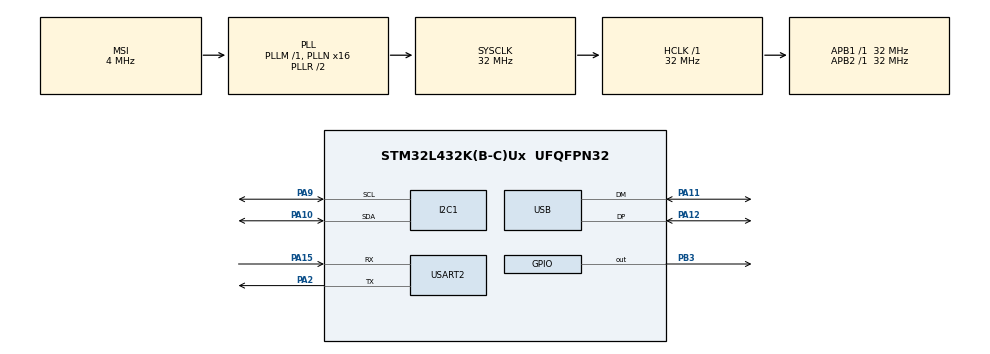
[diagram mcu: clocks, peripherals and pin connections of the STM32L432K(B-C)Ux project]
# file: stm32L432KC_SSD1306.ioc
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I2C1.Timing=0x00707CBB
Mcu.Family=STM32L4
Mcu.Name=STM32L432K(B-C)Ux
Mcu.Package=UFQFPN32
NVIC.PriorityGroup=NVIC_PRIORITYGROUP_4
NVIC.USB_IRQn=true\:0\:0\:false\:false\:true\:false\:true
PA0.Mode=HSE-External-Clock-Source-for-LittleOrca
PA0.Signal=RCC_CK_IN
PA10.Mode=I2C
PA10.Signal=I2C1_SDA
PA11.Mode=Device
PA11.Signal=USB_DM
PA12.Mode=Device
PA12.Signal=USB_DP
PA13\ (JTMS-SWDIO).Mode=Serial_Wire
PA13\ (JTMS-SWDIO).Signal=SYS_JTMS-SWDIO
PA14\ (JTCK-SWCLK).Mode=Serial_Wire
PA14\ (JTCK-SWCLK).Signal=SYS_JTCK-SWCLK
PA15\ (JTDI).GPIO_ModeDefaultPP=GPIO_MODE_AF_PP
PA15\ (JTDI).GPIO_PuPd=GPIO_NOPULL
PA15\ (JTDI).GPIO_Speed=GPIO_SPEED_FREQ_VERY_HIGH
PA15\ (JTDI).Mode=Asynchronous
PA15\ (JTDI).Signal=USART2_RX
PA2.GPIO_ModeDefaultPP=GPIO_MODE_AF_PP
PA2.GPIO_PuPd=GPIO_NOPULL
PA2.GPIO_Speed=GPIO_SPEED_FREQ_VERY_HIGH
PA2.Mode=Asynchronous
PA2.Signal=USART2_TX
PA9.Mode=I2C
PA9.Signal=I2C1_SCL
PB3\ (JTDO-TRACESWO).GPIO_ModeDefaultOutputPP=GPIO_MODE_OUTPUT_PP
PB3\ (JTDO-TRACESWO).GPIO_PuPd=GPIO_NOPULL
PB3\ (JTDO-TRACESWO).GPIO_Speed=GPIO_SPEED_FREQ_LOW
PB3\ (JTDO-TRACESWO).PinState=GPIO_PIN_RESET
PB3\ (JTDO-TRACESWO).Signal=GPIO_Output
PC14-OSC32_IN\ (PC14).Mode=LSE-External-Oscillator
PC14-OSC32_IN\ (PC14).Signal=RCC_OSC32_IN
PC15-OSC32_OUT\ (PC15).Mode=LSE-External-Oscillator
PC15-OSC32_OUT\ (PC15).Signal=RCC_OSC32_OUT
ProjectManager.HeapSize=0x100
ProjectManager.StackSize=0x400
ProjectManager.TargetToolchain=STM32CubeIDE
RCC.ADCFreq_Value=48000000
RCC.AHBFreq_Value=32000000
RCC.APB1Freq_Value=32000000
RCC.APB1TimFreq_Value=32000000
RCC.APB2Freq_Value=32000000
RCC.APB2TimFreq_Value=32000000
RCC.CortexFreq_Value=32000000
RCC.HCLKFreq_Value=32000000
RCC.HSE_VALUE=8000000
RCC.HSI16_VALUE=16000000
RCC.HSI48_VALUE=48000000
RCC.HSI_VALUE=16000000
RCC.MSI_VALUE=4000000
RCC.PLLMUL=RCC_PLLMUL_4
RCC.PLLN=16
RCC.PLLSAI1N=24
RCC.SYSCLKFreq_VALUE=32000000
RCC.SYSCLKSource=RCC_SYSCLKSOURCE_PLLCLK
RCC.USBFreq_Value=48000000
RCC.VCOOutputFreq_Value=64000000
USART2.VirtualMode-Asynchronous=VM_ASYNC
USB_DEVICE.CLASS_NAME_FS=CDC
USB_DEVICE.VirtualMode=Cdc
USB_DEVICE.VirtualModeFS=Cdc_FS
VP_USB_DEVICE_VS_USB_DEVICE_CDC_FS.Mode=CDC_FS
board=NUCLEO-L432KC

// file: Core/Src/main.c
/* USER CODE BEGIN Header */
/**
  ******************************************************************************
  * @file           : main.c
  * @brief          : Main program body
  ******************************************************************************
  * @attention
  *
  * <h2><center>&copy; Copyright (c) 2020 STMicroelectronics.
  * All rights reserved.</center></h2>
  *
  * This software component is licensed by ST under BSD 3-Clause license,
  * the "License"; You may not use this file except in compliance with the
  * License. You may obtain a copy of the License at:
  *                        opensource.org/licenses/BSD-3-Clause
  *
  ******************************************************************************
  */
/* USER CODE END Header */

#include "main.h"
#include "usb_device.h"

/* USER CODE BEGIN Includes */
#include <string.h>
#include <stdio.h>
#include "ssd1306.h"
#include "usbd_cdc_if.h"
/* USER CODE END Includes */

/* USER CODE BEGIN PD */
#define SSD1306_USE_I2C
#define __DEBUG 1
#define BUFFERSIZE 100
#define I2CBUF	12
#define debug_print(x) 	do { if ( __DEBUG ) { strcpy(uartBuffer, x); HAL_UART_Transmit(&huart2, (unsigned char*) uartBuffer, strlen(uartBuffer), HAL_MAX_DELAY); }} while (0)
/* USER CODE END PD */

I2C_HandleTypeDef hi2c1;

UART_HandleTypeDef huart2;

/* USER CODE BEGIN PV */
const uint8_t SSD1306_ADDRESS = 0x3C << 1;
const uint8_t RANDOM_REG = 0x0F;

char uartBuffer[BUFFERSIZE] = "";
uint8_t I2CBuffer[I2CBUF] = {0};
HAL_StatusTypeDef returnValue = 0;

/* USER CODE END PV */

void SystemClock_Config(void);
static void MX_GPIO_Init(void);
static void MX_USART2_UART_Init(void);
static void MX_I2C1_Init(void);

/* USER CODE BEGIN 0 */
void init() {
	ssd1306_TestAll();
}
/* USER CODE END 0 */

int main(void)
{

  /* MCU Configuration--------------------------------------------------------*/

  /* Reset of all peripherals, Initializes the Flash interface and the Systick. */
  HAL_Init();

  /* Configure the system clock */
  SystemClock_Config();

  /* Initialize all configured peripherals */
  MX_GPIO_Init();
  MX_USART2_UART_Init();
  MX_I2C1_Init();
  MX_USB_DEVICE_Init();

  /* Infinite loop */
  /* USER CODE BEGIN WHILE */
  init();
  while (1)
  {
    /* USER CODE END WHILE */

  }
}

void SystemClock_Config(void)
{
  RCC_OscInitTypeDef RCC_OscInitStruct = {0};
  RCC_ClkInitTypeDef RCC_ClkInitStruct = {0};
  RCC_PeriphCLKInitTypeDef PeriphClkInit = {0};

  /** Configure LSE Drive Capability
  */
  HAL_PWR_EnableBkUpAccess();
  __HAL_RCC_LSEDRIVE_CONFIG(RCC_LSEDRIVE_LOW);
  /** Initializes the CPU, AHB and APB busses clocks
  */
  RCC_OscInitStruct.OscillatorType = RCC_OSCILLATORTYPE_LSE|RCC_OSCILLATORTYPE_MSI;
  RCC_OscInitStruct.LSEState = RCC_LSE_ON;
  RCC_OscInitStruct.MSIState = RCC_MSI_ON;
  RCC_OscInitStruct.MSICalibrationValue = 0;
  RCC_OscInitStruct.MSIClockRange = RCC_MSIRANGE_6;
  RCC_OscInitStruct.PLL.PLLState = RCC_PLL_ON;
  RCC_OscInitStruct.PLL.PLLSource = RCC_PLLSOURCE_MSI;
  RCC_OscInitStruct.PLL.PLLM = 1;
  RCC_OscInitStruct.PLL.PLLN = 16;
  RCC_OscInitStruct.PLL.PLLP = RCC_PLLP_DIV7;
  RCC_OscInitStruct.PLL.PLLQ = RCC_PLLQ_DIV2;
  RCC_OscInitStruct.PLL.PLLR = RCC_PLLR_DIV2;
  if (HAL_RCC_OscConfig(&RCC_OscInitStruct) != HAL_OK)
  {
    Error_Handler();
  }
  /** Initializes the CPU, AHB and APB busses clocks
  */
  RCC_ClkInitStruct.ClockType = RCC_CLOCKTYPE_HCLK|RCC_CLOCKTYPE_SYSCLK
                              |RCC_CLOCKTYPE_PCLK1|RCC_CLOCKTYPE_PCLK2;
  RCC_ClkInitStruct.SYSCLKSource = RCC_SYSCLKSOURCE_PLLCLK;
  RCC_ClkInitStruct.AHBCLKDivider = RCC_SYSCLK_DIV1;
  RCC_ClkInitStruct.APB1CLKDivider = RCC_HCLK_DIV1;
  RCC_ClkInitStruct.APB2CLKDivider = RCC_HCLK_DIV1;

  if (HAL_RCC_ClockConfig(&RCC_ClkInitStruct, FLASH_LATENCY_1) != HAL_OK)
  {
    Error_Handler();
  }
  PeriphClkInit.PeriphClockSelection = RCC_PERIPHCLK_USART2|RCC_PERIPHCLK_I2C1
                              |RCC_PERIPHCLK_USB;
  PeriphClkInit.Usart2ClockSelection = RCC_USART2CLKSOURCE_PCLK1;
  PeriphClkInit.I2c1ClockSelection = RCC_I2C1CLKSOURCE_PCLK1;
  PeriphClkInit.UsbClockSelection = RCC_USBCLKSOURCE_PLLSAI1;
  PeriphClkInit.PLLSAI1.PLLSAI1Source = RCC_PLLSOURCE_MSI;
  PeriphClkInit.PLLSAI1.PLLSAI1M = 1;
  PeriphClkInit.PLLSAI1.PLLSAI1N = 24;
  PeriphClkInit.PLLSAI1.PLLSAI1P = RCC_PLLP_DIV7;
  PeriphClkInit.PLLSAI1.PLLSAI1Q = RCC_PLLQ_DIV2;
  PeriphClkInit.PLLSAI1.PLLSAI1R = RCC_PLLR_DIV2;
  PeriphClkInit.PLLSAI1.PLLSAI1ClockOut = RCC_PLLSAI1_48M2CLK;
  if (HAL_RCCEx_PeriphCLKConfig(&PeriphClkInit) != HAL_OK)
  {
    Error_Handler();
  }
  /** Configure the main internal regulator output voltage
  */
  if (HAL_PWREx_ControlVoltageScaling(PWR_REGULATOR_VOLTAGE_SCALE1) != HAL_OK)
  {
    Error_Handler();
  }
  /** Enable MSI Auto calibration
  */
  HAL_RCCEx_EnableMSIPLLMode();
}

static void MX_I2C1_Init(void)
{

  hi2c1.Instance = I2C1;
  hi2c1.Init.Timing = 0x00707CBB;
  hi2c1.Init.OwnAddress1 = 0;
  hi2c1.Init.AddressingMode = I2C_ADDRESSINGMODE_7BIT;
  hi2c1.Init.DualAddressMode = I2C_DUALADDRESS_DISABLE;
  hi2c1.Init.OwnAddress2 = 0;
  hi2c1.Init.OwnAddress2Masks = I2C_OA2_NOMASK;
  hi2c1.Init.GeneralCallMode = I2C_GENERALCALL_DISABLE;
  hi2c1.Init.NoStretchMode = I2C_NOSTRETCH_DISABLE;
  if (HAL_I2C_Init(&hi2c1) != HAL_OK)
  {
    Error_Handler();
  }
  /** Configure Analogue filter
  */
  if (HAL_I2CEx_ConfigAnalogFilter(&hi2c1, I2C_ANALOGFILTER_ENABLE) != HAL_OK)
  {
    Error_Handler();
  }
  /** Configure Digital filter
  */
  if (HAL_I2CEx_ConfigDigitalFilter(&hi2c1, 0) != HAL_OK)
  {
    Error_Handler();
  }

}

static void MX_USART2_UART_Init(void)
{

  huart2.Instance = USART2;
  huart2.Init.BaudRate = 115200;
  huart2.Init.WordLength = UART_WORDLENGTH_8B;
  huart2.Init.StopBits = UART_STOPBITS_1;
  huart2.Init.Parity = UART_PARITY_NONE;
  huart2.Init.Mode = UART_MODE_TX_RX;
  huart2.Init.HwFlowCtl = UART_HWCONTROL_NONE;
  huart2.Init.OverSampling = UART_OVERSAMPLING_16;
  huart2.Init.OneBitSampling = UART_ONE_BIT_SAMPLE_DISABLE;
  huart2.AdvancedInit.AdvFeatureInit = UART_ADVFEATURE_NO_INIT;
  if (HAL_UART_Init(&huart2) != HAL_OK)
  {
    Error_Handler();
  }

}

static void MX_GPIO_Init(void)
{
  GPIO_InitTypeDef GPIO_InitStruct = {0};

  /* GPIO Ports Clock Enable */
  __HAL_RCC_GPIOC_CLK_ENABLE();
  __HAL_RCC_GPIOA_CLK_ENABLE();
  __HAL_RCC_GPIOB_CLK_ENABLE();

  /*Configure GPIO pin Output Level */
  HAL_GPIO_WritePin(GPIOB, GPIO_PIN_3, GPIO_PIN_RESET);

  /*Configure GPIO pin : PB3 */
  GPIO_InitStruct.Pin = GPIO_PIN_3;
  GPIO_InitStruct.Mode = GPIO_MODE_OUTPUT_PP;
  GPIO_InitStruct.Pull = GPIO_NOPULL;
  GPIO_InitStruct.Speed = GPIO_SPEED_FREQ_LOW;
  HAL_GPIO_Init(GPIOB, &GPIO_InitStruct);

}

void Error_Handler(void)
{
}

/************************ (C) COPYRIGHT STMicroelectronics *****END OF FILE****/
